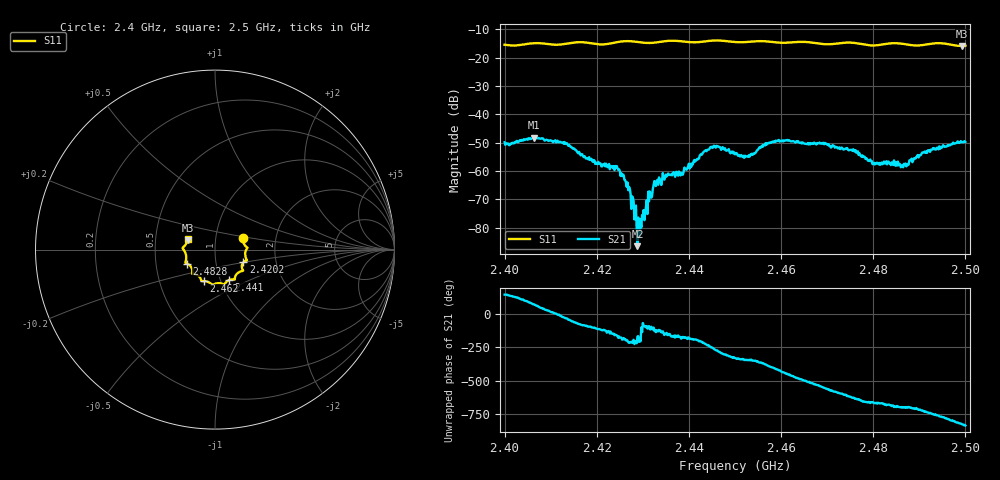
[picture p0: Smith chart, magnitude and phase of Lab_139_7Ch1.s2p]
# Hz S RI R 50
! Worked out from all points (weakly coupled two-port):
!   601 points, 2.4 GHz to 2.5 GHz, reference 50 ohm
!   highest |S21| = -48.22 dB at 2.4063 GHz (marker M1); lowest = -86.5 dB at 2.4288 GHz (marker M2)
!   lowest |S11| = -15.8 dB at 2.4993 GHz (marker M3), VSWR 1.39, Z = 36.5 + j3.86 ohm
!   |S11| at or under -10 dB: start of sweep to end of sweep
!   S12 and S22 are empty: the file has one direction only
!   S11 on the Smith chart (normalised r, x): 2.4 GHz: 1.36, +0.18; 2.4202 GHz: 1.36, -0.20; 2.441 GHz: 1.10, -0.39; 2.462 GHz: 0.84, -0.30; 2.4828 GHz: 0.72, -0.12; 2.5 GHz: 0.73, +0.09
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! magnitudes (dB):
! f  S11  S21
! 2.4 GHz  -15.4  -49.9
! 2.4063 GHz  -14.9  -48.2
! 2.4132 GHz  -15.1  -50.4
! 2.4167 GHz  -14.5  -54.1
! 2.4202 GHz  -15.2  -57.6
! 2.4253 GHz  -14.3  -60.8
! 2.4268 GHz  -14.1  -66.8
! 2.4288 GHz  -14.4  -86.5
! 2.4298 GHz  -14.7  -75.6
! 2.4333 GHz  -14.5  -64.8
! 2.441 GHz  -14.6  -56.7
! 2.4452 GHz  -14.0  -51.8
! 2.45 GHz  -14.5  -54.1
! 2.4528 GHz  -14.4  -55.0
! 2.4572 GHz  -14.3  -50.3
! 2.462 GHz  -14.6  -49.4
! 2.4667 GHz  -14.6  -50.4
! 2.4828 GHz  -15.1  -56.6
! 2.4833 GHz  -15.0  -56.7
! 2.487 GHz  -15.2  -57.4
! 2.4993 GHz  -15.8  -49.7
! 2.5 GHz  -15.7  -49.7
